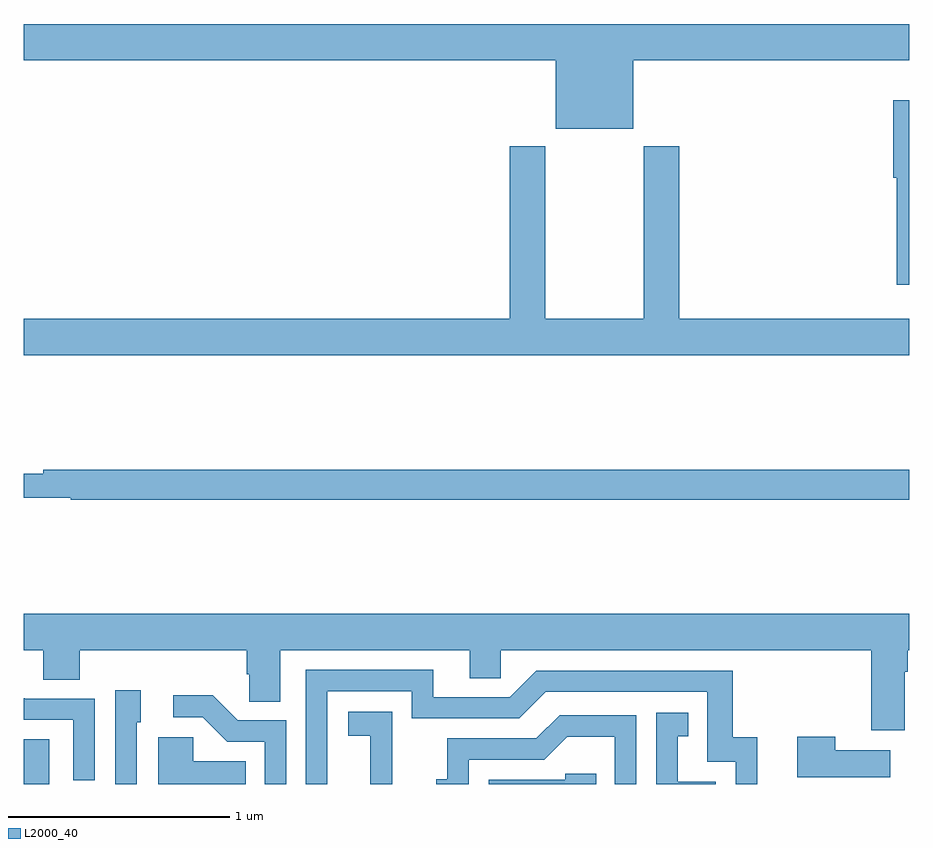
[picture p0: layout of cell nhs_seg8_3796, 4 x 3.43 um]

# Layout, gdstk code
import gdstk
lib = gdstk.Library(unit=1e-6, precision=1e-09)
def R(c, l, rs):  # rectangles x0, y0, x1, y1
    for r in rs: c.add(gdstk.rectangle(r[:2], r[2:], *l))
def P(c, l, *ps):  # polygons
    for p in ps: c.add(gdstk.Polygon(p, *l))
L2000_40 = (2000, 40)

nhs_seg8_3796 = lib.new_cell('nhs_seg8_3796')
R(nhs_seg8_3796, L2000_40, [(345,1111.9,345.115,1112.101)])
P(nhs_seg8_3796, L2000_40, [(347.752,1115.168),(349,1115.168),(349,1115.332),(345,1115.332),(345,1115.168),(347.402,1115.168),(347.402,1114.859),(347.752,1114.859)],
  [(349,1114.987),(348.926,1114.987),(348.926,1114.638),(348.944,1114.638),(348.944,1114.155),(349,1114.155)],
  [(349,1114),(347.96,1114),(347.96,1114.78),(347.8,1114.78),(347.8,1114),(347.355,1114),(347.355,1114.78),(347.195,1114.78),(347.195,1114),(345,1114),(345,1113.836),(349,1113.836)],
  [(349,1113.32),(345.088,1113.32),(345.088,1113.301),(345,1113.301),(345,1113.192),(345.212,1113.192),(345.212,1113.184),(349,1113.184)],
  [(348.979,1112.408),(348.992,1112.408),(348.992,1112.504),(349,1112.504),(349,1112.668),(345,1112.668),(345,1112.504),(345.089,1112.504),(345.089,1112.371),(345.254,1112.371),(345.254,1112.504),(346.007,1112.504),(346.007,1112.395),(346.02,1112.395),(346.02,1112.272),(346.159,1112.272),(346.159,1112.504),(347.015,1112.504),(347.015,1112.377),(347.154,1112.377),(347.154,1112.504),(348.827,1112.504),(348.827,1112.142),(348.979,1112.142)],
  [(346.371,1112.319),(346.752,1112.319),(346.752,1112.196),(347.238,1112.196),(347.358,1112.316),(348.087,1112.316),(348.087,1112.001),(348.216,1112.001),(348.216,1111.9),(348.314,1111.9),(348.314,1112.11),(348.203,1112.11),(348.203,1112.412),(347.316,1112.412),(347.196,1112.292),(346.849,1112.292),(346.849,1112.415),(346.275,1112.415),(346.275,1111.9),(346.371,1111.9)],
  [(345.51,1112.178),(345.529,1112.178),(345.529,1112.323),(345.414,1112.323),(345.414,1111.9),(345.51,1111.9)],
  [(346.185,1112.187),(345.966,1112.187),(345.853,1112.3),(345.675,1112.3),(345.675,1112.202),(345.809,1112.202),(345.92,1112.091),(346.089,1112.091),(346.089,1111.9),(346.185,1111.9)],
  [(345.321,1112.286),(345.005,1112.286),(345.005,1112.288),(345,1112.288),(345,1112.19),(345.225,1112.19),(345.225,1111.917),(345.321,1111.917)],
  [(346.664,1112.021),(346.665,1112.021),(346.665,1112.227),(346.467,1112.227),(346.467,1112.117),(346.565,1112.117),(346.565,1111.9),(346.664,1111.9)],
  [(348.126,1111.911),(347.953,1111.911),(347.953,1112.115),(348.002,1112.115),(348.002,1112.221),(347.856,1112.221),(347.856,1111.9),(348.126,1111.9)],
  [(347.01,1112.01),(347.352,1112.01),(347.456,1112.114),(347.67,1112.114),(347.67,1111.9),(347.766,1111.9),(347.766,1112.211),(347.42,1112.211),(347.315,1112.106),(346.912,1112.106),(346.912,1111.921),(346.863,1111.921),(346.863,1111.9),(347.01,1111.9)],
  [(348.913,1112.053),(348.665,1112.053),(348.665,1112.113),(348.494,1112.113),(348.494,1111.931),(348.913,1111.931)],
  [(346.004,1112.002),(345.765,1112.002),(345.765,1112.11),(345.608,1112.11),(345.608,1111.9),(346.004,1111.9)],
  [(347.585,1111.947),(347.445,1111.947),(347.445,1111.92),(347.1,1111.92),(347.1,1111.9),(347.585,1111.9)])

lib.write_gds('nhs_seg8_3796.gds')
